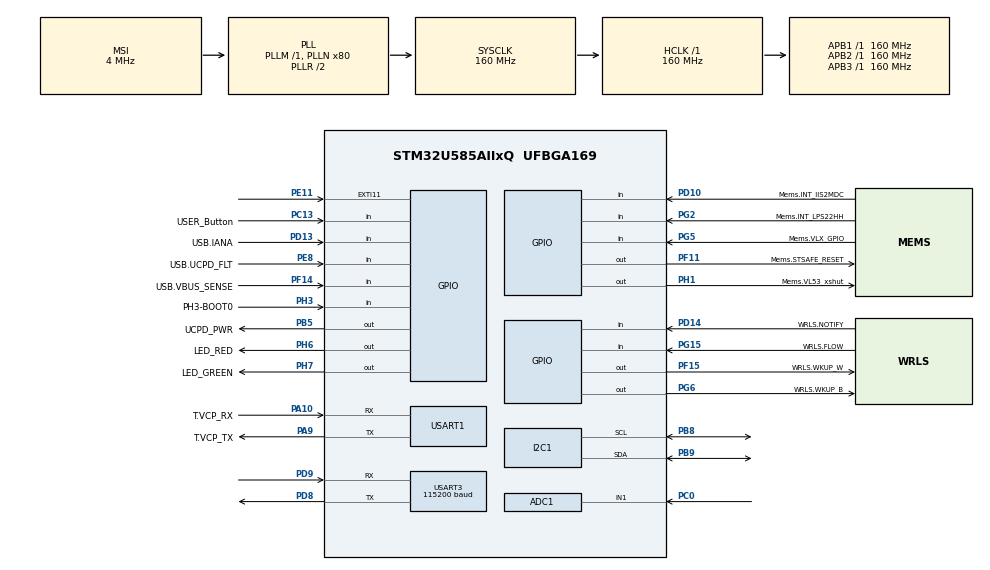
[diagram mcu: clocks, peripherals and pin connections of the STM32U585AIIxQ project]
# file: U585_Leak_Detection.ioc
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ADC1.NbrOfConversion=1
ADC1.master=1
CORTEX_M33_NS.userName=CORTEX_M33
I2C1.Timing=0x30909DEC
Mcu.Family=STM32U5
Mcu.Name=STM32U585AIIxQ
Mcu.Package=UFBGA169
NVIC.EXTI11_IRQn=true\:5\:0\:true\:false\:true\:true\:true\:true
NVIC.PriorityGroup=NVIC_PRIORITYGROUP_4
NVIC.RTC_IRQn=true\:0\:0\:false\:false\:true\:true\:true\:true
NVIC.USART3_IRQn=true\:0\:0\:false\:false\:true\:true\:true\:true
PA10.GPIO_Label=T.VCP_RX
PA10.Mode=Asynchronous
PA10.Signal=USART1_RX
PA9.GPIO_Label=T.VCP_TX
PA9.Mode=Asynchronous
PA9.Signal=USART1_TX
PB5.GPIO_Label=UCPD_PWR
PB5.Signal=GPIO_Output
PB8.Mode=I2C
PB8.Signal=I2C1_SCL
PB9.Mode=I2C
PB9.Signal=I2C1_SDA
PC0.Mode=IN1-Single-Ended
PC0.Signal=ADC1_IN1
PC13.GPIO_Label=USER_Button
PC13.Signal=GPIO_Input
PC14-OSC32_IN\ (PC14).Mode=LSE-External-Oscillator-for-RTC
PC14-OSC32_IN\ (PC14).Signal=RCC_OSC32_IN
PC15-OSC32_OUT\ (PC15).Mode=LSE-External-Oscillator-for-RTC
PC15-OSC32_OUT\ (PC15).Signal=RCC_OSC32_OUT
PD10.GPIO_Label=Mems.INT_IIS2MDC
PD10.Signal=GPIO_Input
PD13.GPIO_Label=USB.IANA
PD13.Signal=GPIO_Input
PD14.GPIO_Label=WRLS.NOTIFY
PD14.Signal=GPIO_Input
PD8.Mode=Asynchronous
PD8.Signal=USART3_TX
PD9.Mode=Asynchronous
PD9.Signal=USART3_RX
PE11.Signal=GPXTI11
PE8.GPIO_Label=USB.UCPD_FLT
PE8.Signal=GPIO_Input
PF11.GPIO_Label=Mems.STSAFE_RESET
PF11.Signal=GPIO_Output
PF14.GPIO_Label=USB.VBUS_SENSE
PF14.Signal=GPIO_Input
PF15.GPIO_Label=WRLS.WKUP_W
PF15.Signal=GPIO_Output
PG15.GPIO_Label=WRLS.FLOW
PG15.Signal=GPIO_Input
PG2.GPIO_Label=Mems.INT_LPS22HH
PG2.Signal=GPIO_Input
PG5.GPIO_Label=Mems.VLX_GPIO
PG5.Signal=GPIO_Input
PG6.GPIO_Label=WRLS.WKUP_B
PG6.Signal=GPIO_Output
PH1-OSC_OUT\ (PH1).GPIO_Label=Mems.VL53_xshut
PH1-OSC_OUT\ (PH1).Signal=GPIO_Output
PH3-BOOT0.GPIO_Label=PH3-BOOT0
PH3-BOOT0.Signal=GPIO_Input
PH6.GPIO_Label=LED_RED
PH6.Signal=GPIO_Output
PH7.GPIO_Label=LED_GREEN
PH7.Signal=GPIO_Output
PWR.PowerMode=PWR_SMPS_SUPPLY
ProjectManager.HeapSize=0x200
ProjectManager.StackSize=0x400
ProjectManager.TargetToolchain=STM32CubeIDE
RCC.ADCFreq_Value=16000000
RCC.AHBFreq_Value=160000000
RCC.APB1Freq_Value=160000000
RCC.APB1TimFreq_Value=160000000
RCC.APB2Freq_Value=160000000
RCC.APB2TimFreq_Value=160000000
RCC.APB3Freq_Value=160000000
RCC.CortexFreq_Value=160000000
RCC.DACCLockSelectionVirtual=RCC_DAC1CLKSOURCE_LSI
RCC.EPOD_VALUE=4000000
RCC.HCLKFreq_Value=160000000
RCC.HSE_VALUE=16000000
RCC.HSI48_VALUE=48000000
RCC.HSI_VALUE=16000000
RCC.LSIDIV_VALUE=32000
RCC.MSI_VALUE=4000000
RCC.PLLN=80
RCC.RTCClockSelection=RCC_RTCCLKSOURCE_LSE
RCC.SYSCLKFreq_VALUE=160000000
RCC.SYSCLKSource=RCC_SYSCLKSOURCE_PLLCLK
RCC.USBFreq_Value=48000000
RCC.VCOOutputFreq_Value=320000000
RTC.Date=7
RTC.Month=RTC_MONTH_FEBRUARY
RTC.WeekDay=RTC_WEEKDAY_SATURDAY
RTC.Year=26
USART1.VirtualMode-Asynchronous=VM_ASYNC
USART3.BaudRate=115200
USART3.VirtualMode-Asynchronous=VM_ASYNC
VP_ICACHE_VS_ICACHE.Mode=DirectMappedCache
VP_LPBAMQUEUE_VS_QUEUE.Mode=QUEUEMODE
VP_LPBAM_VS_SIG1.Mode=SmartRun
VP_LPBAM_VS_SIG4.Mode=LPDMA1
VP_MEMORYMAP_VS_MEMORYMAP.Mode=CurAppReg
VP_PWR_VS_LPOM.Mode=PowerOptimisation
VP_PWR_VS_SECSignals.Mode=Security/Privilege
VP_PWR_Vdda.Mode=isolationVdda
VP_RTC_VS_RTC_Activate.Mode=RTC_Enabled
VP_RTC_VS_RTC_Calendar.Mode=RTC_Calendar
VP_RTC_VS_RTC_WakeUp_intern.Mode=WakeUp
board=B-U585I-IOT02A

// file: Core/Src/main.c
/* USER CODE BEGIN Header */
/**
  ******************************************************************************
  * @file           : main.c
  * @brief          : Main program body
  ******************************************************************************
  * @attention
  *
  * Copyright (c) 2025 STMicroelectronics.
  * All rights reserved.
  *
  * This software is licensed under terms that can be found in the LICENSE file
  * in the root directory of this software component.
  * If no LICENSE file comes with this software, it is provided AS-IS.
  *
  ******************************************************************************
  */
/* USER CODE END Header */
#include "main.h"

/* USER CODE BEGIN Includes */
#include "power_mode.h"
#include "peripheral_Initialize.h"
#include "audio_processing.h"
#include "vibration_processing.h"
#include "audio_detection.h"
#include "vibration_detection.h"
#include "detection_logic.h"
#include "data_logger.h"
#include "lora.h"
/* USER CODE END Includes */

ADC_HandleTypeDef hadc1;

I2C_HandleTypeDef hi2c1;

RTC_HandleTypeDef hrtc;

UART_HandleTypeDef huart1;
UART_HandleTypeDef huart3;

/* USER CODE BEGIN PV */

/* Default sleep mode (can be changed at runtime if needed) */
static volatile app_sleep_mode_t g_sleep_mode = APP_SLEEP_MODE_STOP2;

int mic_record_duration = 3;
int acc_record_duration = 1;

static uint32_t logging_duration_ms = 10000U;				// Logging duration in milliseconds
static const uint32_t dataset_log_per_press       = 5U;     // how many logs per press
static const uint32_t dataset_inter_log_delay_ms  = 10000U;  // delay between logs (ms)

double verdict_conf = 0.0;

typedef enum {
    APP_MODE_DATASET = 0,
    APP_MODE_DETECTION = 1,
} app_mode_t;

static app_mode_t g_mode = APP_MODE_DETECTION;
static const uint32_t g_long_press_ms = 1200U;
static const uint32_t DETL_CHUNK_MS = 3000U;

/* USER CODE END PV */

void SystemClock_Config(void);
static void SystemPower_Config(void);
static void MX_GPIO_Init(void);
static void MX_ICACHE_Init(void);
static void MX_USART1_UART_Init(void);
static void MX_I2C1_Init(void);
static void MX_ADC1_Init(void);
static void MX_RTC_Init(void);
static void MX_USART3_UART_Init(void);

/* USER CODE BEGIN 0 */
uint32_t get_time_ms_of_day(void)
{
    RTC_TimeTypeDef t;
    RTC_DateTypeDef d;    // must read date after time (RTC requirement)

    HAL_RTC_GetTime(&hrtc, &t, RTC_FORMAT_BIN);
    HAL_RTC_GetDate(&hrtc, &d, RTC_FORMAT_BIN);

    uint32_t ms =
        ((uint32_t)t.Hours   * 3600U +
         (uint32_t)t.Minutes * 60U +
         (uint32_t)t.Seconds) * 1000U +
         (uint32_t)(t.SubSeconds * 1000U) / hrtc.Init.SynchPrediv;

    return ms;
}

const char *get_date_string(void)
{
    static char date_buf[16];  // persists after function return

    RTC_TimeTypeDef t;
    RTC_DateTypeDef d;

    HAL_RTC_GetTime(&hrtc, &t, RTC_FORMAT_BIN);
    HAL_RTC_GetDate(&hrtc, &d, RTC_FORMAT_BIN);

    // Format: DD/MM/YYYY
    snprintf(date_buf, sizeof(date_buf),
             "%02u/%02u/20%02u",
             d.Date, d.Month, d.Year);

    return date_buf;
}

const char *get_datetime_string_ms(void)
{
    static char dt_buf[32];

    RTC_TimeTypeDef t;
    RTC_DateTypeDef d;

    /* Read time first, then date (RTC requirement) */
    HAL_RTC_GetTime(&hrtc, &t, RTC_FORMAT_BIN);
    HAL_RTC_GetDate(&hrtc, &d, RTC_FORMAT_BIN);

    /* On STM32, SubSeconds counts down from SynchPrediv to 0 */
    uint32_t sub = t.SubSeconds;
    uint32_t prediv = (uint32_t)hrtc.Init.SynchPrediv;
    uint32_t ms = 0U;

    if (prediv > 0U) {
        /* Convert downcounter to elapsed ms within the current second */
        uint32_t ticks = (prediv - sub);
        ms = (ticks * 1000U) / (prediv + 1U);
    }
    ms %= 1000U;

    /* Format: DD/MM/YYYY HH:MM:SS.mmm */
    snprintf(dt_buf, sizeof(dt_buf),
             "%02u/%02u/20%02u %02u:%02u:%02u.%03u",
             d.Date, d.Month, d.Year,
             t.Hours, t.Minutes, t.Seconds,
             (unsigned)ms);

    return dt_buf;
}

/* USER CODE END 0 */

int main(void)
{

  /* MCU Configuration--------------------------------------------------------*/

  /* Reset of all peripherals, Initializes the Flash interface and the Systick. */
  HAL_Init();

  /* Configure the System Power */
  SystemPower_Config();

  /* Configure the system clock */
  SystemClock_Config();

  /* USER CODE BEGIN SysInit */
  /* Determine reset / low-power wake context (needed for SHUTDOWN) */
  app_boot_reason_init();

  /* USER CODE END SysInit */

  /* Initialize all configured peripherals */
  MX_GPIO_Init();
  MX_ICACHE_Init();
  MX_USART1_UART_Init();
  MX_I2C1_Init();
  MX_ADC1_Init();
  MX_RTC_Init();
  MX_USART3_UART_Init();
  /* USER CODE BEGIN 2 */
  printf("[BTN ] \r\n");
  printf("[BTN ] ======================================== RESET ========================================\r\n");
  printf("[BTN ] \r\n");
  printf("[BTN ] %s\r\n", get_datetime_string_ms());
  // peripheral_Init();
  /* On SHUTDOWN/STANDBY wake, skip peripheral testing and use lightweight wake init */
  if (g_boot_from_standby) {
	  periTest = 0;
      peripheral_Wake();
      app_cancel_rtc_wakeup(); /* stop periodic wakeups while we are awake */
      app_disable_wkup2_after_wake();
      g_woke_from_sleep = 1U;
    } else {
      peripheral_Init();
    }
  g_last_activity_ms = HAL_GetTick();
  audio_detection_init();
  vibration_detection_init();
  g_neai_num_windows = 30;
  /* USER CODE END 2 */

  /* Infinite loop */
  /* USER CODE BEGIN WHILE */
  while (1)
  {
	while(periTest){
		printf("[TEST] Start peripherals testing...\r\n");
		peripheral_Testing();
		periTest = 0;
		printf("[TEST] Peripherals testing completed.\r\n");
		printf("[MODE] Detection period: %u minutes \r\n",APP_PERIODIC_DET_SEC/60);
		printf("[MODE] Current mode: %s\r\n", (g_mode == APP_MODE_DATASET) ? "DATASET" : "DETECTION");
		lora_sendf("RESET: %s",get_datetime_string_ms());
		HAL_Delay(200);
		lora_sendf("MODE: %s", (g_mode == APP_MODE_DATASET) ? "DATASET" : "DETECTION");
		g_last_activity_ms = HAL_GetTick();
	}
	while(powerSave){
		printf("[TMR ] %s - Enter power saving mode.\r\n",get_datetime_string_ms());
		lora_sendf("SLEEP: %s",get_datetime_string_ms());
		power_mode_set_sleep_mode(g_sleep_mode);
		app_enter_power_save();
	}
	/* If we just woke from STOP, discard the wake button press (enter idle state) */
	if (g_woke_from_sleep) {
		HAL_Delay(200);
		lora_sendf("WAKE: %s",get_datetime_string_ms());
		HAL_Delay(200);
		lora_sendf("MODE: %s", (g_mode == APP_MODE_DATASET) ? "DATASET" : "DETECTION");
		printf("[TMR ] Current mode: %s\r\n", (g_mode == APP_MODE_DATASET) ? "DATASET" : "DETECTION");
	    /* If USER button was the wake source, discard that press (wake only) */
	    if (user_button_event) {
	        user_button_event = 0U;
	        g_last_activity_ms = HAL_GetTick();
	    }

	    /* Enter idle state visual immediately after wake */
	    if (g_mode == APP_MODE_DATASET) {
	        BSP_LED_Off(LED_GREEN);
	        BSP_LED_On(LED_RED);
	    }
	    else if (g_mode == APP_MODE_DETECTION) {
	        BSP_LED_On(LED_GREEN);
	        BSP_LED_Off(LED_RED);
	    }
	    else {
	        LED_Blink(1);
	    }

	    g_woke_from_sleep = 0U;
	}
    while (user_button_event) {
        // Clear the button flag so this loop only runs once per press
        user_button_event = 0;
        g_last_activity_ms = HAL_GetTick();

        // Long press toggles mode
		if (user_button_wait_long_press(g_long_press_ms)) {
			g_mode = (g_mode == APP_MODE_DATASET) ? APP_MODE_DETECTION : APP_MODE_DATASET;
			printf("[MODE] Switched to %s\r\n", (g_mode == APP_MODE_DATASET) ? "DATASET" : "DETECTION");
			lora_sendf("MODE: %s", (g_mode == APP_MODE_DATASET) ? "DATASET" : "DETECTION");

			// LED feedback: DATASET=1 blink, DETECTION=3 blinks
			LED_Blink(1);
			if (g_mode == APP_MODE_DETECTION) {
				LED_Blink(2);
			}
			g_last_activity_ms = HAL_GetTick();
			break;
		}

        if(g_mode == APP_MODE_DATASET){	// Dataset mode
            /* Initial delay: gives you time to remove your hand,
               and avoids capturing the vibration from the button press itself. */
            HAL_Delay(1000);
            lora_sendf("DATA: Start - %s",get_datetime_string_ms());
            BSP_LED_On(LED_GREEN);

			for (uint32_t n = 0U; n < dataset_log_per_press; n++) {

				printf("[BTN ] Logging %lu s now... (%lu/%lu)\r\n",
					   (unsigned long)logging_duration_ms / 1000U,
					   (unsigned long)(n + 1U),
					   (unsigned long)dataset_log_per_press);

				// Sequential logging
				int rc = logging_now(logging_duration_ms);

				// Simultaneous dataset logging (audio + vib) - currently not achieving 6.6 kHz for vibration
	            //int rc = logging_syn_dataset(logging_duration_ms);

				printf("[BTN ] Logging completed. Status = %d\r\n", rc);

				// Delay between recordings so the PC logger has time to finish writing before the next run.
				if ((dataset_log_per_press > 1U) && ((n + 1U) <= dataset_log_per_press)){
					printf("[BTN ] Intermediate delay started. Delay for %lu s\r\n", (unsigned long)dataset_inter_log_delay_ms/1000);
					HAL_Delay(dataset_inter_log_delay_ms);
					printf("[BTN ] Intermediate delay ended.\r\n");
				}
			}
			printf("[BTN ] All Logging completed. Total = %lu datasets.\r\n", (unsigned long)dataset_log_per_press);
			BSP_LED_Off(LED_GREEN);
			lora_sendf("DATA: End - %s",get_datetime_string_ms());
        }
        else { // Detection mode

            HAL_Delay(500);
            BSP_LED_On(LED_RED);
            printf("[BTN ] Running %lus (10 x 3s) late-fusion detection...\r\n",DETL_CHUNK_MS/1000);

            int dl_rc = detection_logic_run_30s_latefusion(DETL_CHUNK_MS);
            bool lr_pl = lora_send_detection_payload();
            printf("[LORA] Detection payload sent %s \r\n", lr_pl ? "successfully" : "failed");

            const char *verdict = dl_rc ? "leak" : "background";
            printf("[BTN ] 30s late-fusion detection result = %s (%.3f) \r\n", verdict, verdict_conf);

            BSP_LED_Off(LED_RED);

        }
        g_last_activity_ms = HAL_GetTick();

    }

    /* USER CODE END WHILE */

    /* USER CODE BEGIN 3 */

/*    //Periodic dataset collection trigger (RTC wake while sleeping)
    if (g_periodic_det_pending) {
		HAL_Delay(10000);
    	printf("[TMR ] Periodically (every %lu min) dataset collection start.\r\n", (unsigned long)APP_PERIODIC_DET_SEC/60);
        g_periodic_det_pending = 0U;

        lora_sendf("DATA: Start - %s",get_datetime_string_ms());
        BSP_LED_On(LED_GREEN);

		for (uint32_t n = 0U; n < dataset_log_per_press; n++) {

			printf("[BTN ] Logging %lu s now... (%lu/%lu)\r\n",
				   (unsigned long)logging_duration_ms / 1000U,
				   (unsigned long)(n + 1U),
				   (unsigned long)dataset_log_per_press);

			// Sequential logging
			int rc = logging_now(logging_duration_ms);

			// Simultaneous dataset logging (audio + vib) - currently not achieving 6.6 kHz for vibration
            //int rc = logging_syn_dataset(logging_duration_ms);

			printf("[BTN ] Logging completed. Status = %d\r\n", rc);

			// Delay between recordings so the PC logger has time to finish writing before the next run.
			if ((dataset_log_per_press > 1U) && ((n + 1U) <= dataset_log_per_press)){
				printf("[BTN ] Intermediate delay started. Delay for %lu s\r\n", (unsigned long)dataset_inter_log_delay_ms/1000);
				HAL_Delay(dataset_inter_log_delay_ms);
				printf("[BTN ] Intermediate delay ended.\r\n");
			}
		}
		printf("[BTN ] All Logging completed. Total = %lu datasets.\r\n", (unsigned long)dataset_log_per_press);
		BSP_LED_Off(LED_GREEN);
		lora_sendf("DATA: End - %s",get_datetime_string_ms());

        // Periodic (RTC) detection: sleep immediately after detection + LoRa
        powerSave = 1U;
        continue;  // jump to while(powerSave) and enter low power now
    }*/

    if (g_periodic_det_pending) {
    	HAL_Delay(10000);
    	printf("[TMR ] Periodically (every %lu) detection start.\r\n", (unsigned long)APP_PERIODIC_DET_SEC);
        g_periodic_det_pending = 0U;

        BSP_LED_On(LED_RED);
        BSP_LED_On(LED_GREEN);

        printf("[TMR ] Running %lus (10 x 3s) late-fusion detection...\r\n", DETL_CHUNK_MS/1000);

        int dl_rc = detection_logic_run_30s_latefusion(DETL_CHUNK_MS);
        bool lr_pl = lora_send_detection_payload();
        printf("[LORA] Detection payload sent %s \r\n", lr_pl ? "successfully" : "failed");

        const char *verdict = dl_rc ? "leak" : "background";
        printf("[TMR ] 30s late-fusion detection result = %s (%.3f) \r\n", verdict, verdict_conf);

        BSP_LED_Off(LED_RED);
        BSP_LED_Off(LED_GREEN);

        // Periodic (RTC) detection: sleep immediately after detection + LoRa
        powerSave = 1U;
        continue;  // Jump to while(powerSave) and enter low power now
    }

    // Idle timeout: return to power saving mode after APP_IDLE_TIMEOUT_MS
    if ((HAL_GetTick() - g_last_activity_ms) >= APP_IDLE_TIMEOUT_MS) {
        powerSave = 1;
    }

	if(g_mode == APP_MODE_DATASET){
		BSP_LED_Off(LED_GREEN);
		BSP_LED_On(LED_RED);
	}
	else if(g_mode == APP_MODE_DETECTION){
		BSP_LED_On(LED_GREEN);
		BSP_LED_Off(LED_RED);
	}
	else{
		LED_Blink(1);
	}
  }
  /* USER CODE END 3 */
}

void SystemClock_Config(void)
{
  RCC_OscInitTypeDef RCC_OscInitStruct = {0};
  RCC_ClkInitTypeDef RCC_ClkInitStruct = {0};

  /** Configure the main internal regulator output voltage
  */
  if (HAL_PWREx_ControlVoltageScaling(PWR_REGULATOR_VOLTAGE_SCALE1) != HAL_OK)
  {
    Error_Handler();
  }

  /** Configure LSE Drive Capability
  */
  HAL_PWR_EnableBkUpAccess();
  __HAL_RCC_LSEDRIVE_CONFIG(RCC_LSEDRIVE_LOW);

  /** Initializes the CPU, AHB and APB buses clocks
  */
  RCC_OscInitStruct.OscillatorType = RCC_OSCILLATORTYPE_HSI|RCC_OSCILLATORTYPE_LSE
                              |RCC_OSCILLATORTYPE_MSI;
  RCC_OscInitStruct.LSEState = RCC_LSE_ON_RTC_ONLY;
  RCC_OscInitStruct.HSIState = RCC_HSI_ON;
  RCC_OscInitStruct.HSICalibrationValue = RCC_HSICALIBRATION_DEFAULT;
  RCC_OscInitStruct.MSIState = RCC_MSI_ON;
  RCC_OscInitStruct.MSICalibrationValue = RCC_MSICALIBRATION_DEFAULT;
  RCC_OscInitStruct.MSIClockRange = RCC_MSIRANGE_4;
  RCC_OscInitStruct.PLL.PLLState = RCC_PLL_ON;
  RCC_OscInitStruct.PLL.PLLSource = RCC_PLLSOURCE_MSI;
  RCC_OscInitStruct.PLL.PLLMBOOST = RCC_PLLMBOOST_DIV1;
  RCC_OscInitStruct.PLL.PLLM = 1;
  RCC_OscInitStruct.PLL.PLLN = 80;
  RCC_OscInitStruct.PLL.PLLP = 2;
  RCC_OscInitStruct.PLL.PLLQ = 2;
  RCC_OscInitStruct.PLL.PLLR = 2;
  RCC_OscInitStruct.PLL.PLLRGE = RCC_PLLVCIRANGE_0;
  RCC_OscInitStruct.PLL.PLLFRACN = 0;
  if (HAL_RCC_OscConfig(&RCC_OscInitStruct) != HAL_OK)
  {
    Error_Handler();
  }

  /** Initializes the CPU, AHB and APB buses clocks
  */
  RCC_ClkInitStruct.ClockType = RCC_CLOCKTYPE_HCLK|RCC_CLOCKTYPE_SYSCLK
                              |RCC_CLOCKTYPE_PCLK1|RCC_CLOCKTYPE_PCLK2
                              |RCC_CLOCKTYPE_PCLK3;
  RCC_ClkInitStruct.SYSCLKSource = RCC_SYSCLKSOURCE_PLLCLK;
  RCC_ClkInitStruct.AHBCLKDivider = RCC_SYSCLK_DIV1;
  RCC_ClkInitStruct.APB1CLKDivider = RCC_HCLK_DIV1;
  RCC_ClkInitStruct.APB2CLKDivider = RCC_HCLK_DIV1;
  RCC_ClkInitStruct.APB3CLKDivider = RCC_HCLK_DIV1;

  if (HAL_RCC_ClockConfig(&RCC_ClkInitStruct, FLASH_LATENCY_4) != HAL_OK)
  {
    Error_Handler();
  }
}

/**
  * @brief Power Configuration
  * @retval None
  */
static void SystemPower_Config(void)
{
  HAL_PWREx_EnableVddIO2();

  /*
   * Switch to SMPS regulator instead of LDO
   */
  if (HAL_PWREx_ConfigSupply(PWR_SMPS_SUPPLY) != HAL_OK)
  {
    Error_Handler();
  }
}

static void MX_ADC1_Init(void)
{

  /** Common config
  */
  hadc1.Instance = ADC1;
  hadc1.Init.ClockPrescaler = ADC_CLOCK_ASYNC_DIV1;
  hadc1.Init.Resolution = ADC_RESOLUTION_14B;
  hadc1.Init.GainCompensation = 0;
  hadc1.Init.ScanConvMode = ADC_SCAN_DISABLE;
  hadc1.Init.EOCSelection = ADC_EOC_SINGLE_CONV;
  hadc1.Init.LowPowerAutoWait = DISABLE;
  hadc1.Init.ContinuousConvMode = DISABLE;
  hadc1.Init.NbrOfConversion = 1;
  hadc1.Init.DiscontinuousConvMode = DISABLE;
  hadc1.Init.DMAContinuousRequests = DISABLE;
  hadc1.Init.TriggerFrequencyMode = ADC_TRIGGER_FREQ_HIGH;
  hadc1.Init.Overrun = ADC_OVR_DATA_PRESERVED;
  hadc1.Init.LeftBitShift = ADC_LEFTBITSHIFT_NONE;
  hadc1.Init.ConversionDataManagement = ADC_CONVERSIONDATA_DR;
  hadc1.Init.OversamplingMode = DISABLE;
  if (HAL_ADC_Init(&hadc1) != HAL_OK)
  {
    Error_Handler();
  }

}

static void MX_I2C1_Init(void)
{

  hi2c1.Instance = I2C1;
  hi2c1.Init.Timing = 0x30909DEC;
  hi2c1.Init.OwnAddress1 = 0;
  hi2c1.Init.AddressingMode = I2C_ADDRESSINGMODE_7BIT;
  hi2c1.Init.DualAddressMode = I2C_DUALADDRESS_DISABLE;
  hi2c1.Init.OwnAddress2 = 0;
  hi2c1.Init.OwnAddress2Masks = I2C_OA2_NOMASK;
  hi2c1.Init.GeneralCallMode = I2C_GENERALCALL_DISABLE;
  hi2c1.Init.NoStretchMode = I2C_NOSTRETCH_DISABLE;
  if (HAL_I2C_Init(&hi2c1) != HAL_OK)
  {
    Error_Handler();
  }

  /** Configure Analogue filter
  */
  if (HAL_I2CEx_ConfigAnalogFilter(&hi2c1, I2C_ANALOGFILTER_ENABLE) != HAL_OK)
  {
    Error_Handler();
  }

  /** Configure Digital filter
  */
  if (HAL_I2CEx_ConfigDigitalFilter(&hi2c1, 0) != HAL_OK)
  {
    Error_Handler();
  }

}

static void MX_ICACHE_Init(void)
{

  /** Enable instruction cache in 1-way (direct mapped cache)
  */
  if (HAL_ICACHE_ConfigAssociativityMode(ICACHE_1WAY) != HAL_OK)
  {
    Error_Handler();
  }
  if (HAL_ICACHE_Enable() != HAL_OK)
  {
    Error_Handler();
  }

}

static void MX_RTC_Init(void)
{

  RTC_PrivilegeStateTypeDef privilegeState = {0};
  RTC_TimeTypeDef sTime = {0};
  RTC_DateTypeDef sDate = {0};

  /** Initialize RTC Only
  */
  hrtc.Instance = RTC;
  hrtc.Init.HourFormat = RTC_HOURFORMAT_24;
  hrtc.Init.AsynchPrediv = 127;
  hrtc.Init.SynchPrediv = 255;
  hrtc.Init.OutPut = RTC_OUTPUT_DISABLE;
  hrtc.Init.OutPutRemap = RTC_OUTPUT_REMAP_NONE;
  hrtc.Init.OutPutPolarity = RTC_OUTPUT_POLARITY_HIGH;
  hrtc.Init.OutPutType = RTC_OUTPUT_TYPE_OPENDRAIN;
  hrtc.Init.OutPutPullUp = RTC_OUTPUT_PULLUP_NONE;
  hrtc.Init.BinMode = RTC_BINARY_NONE;
  if (HAL_RTC_Init(&hrtc) != HAL_OK)
  {
    Error_Handler();
  }
  privilegeState.rtcPrivilegeFull = RTC_PRIVILEGE_FULL_NO;
  privilegeState.backupRegisterPrivZone = RTC_PRIVILEGE_BKUP_ZONE_NONE;
  privilegeState.backupRegisterStartZone2 = RTC_BKP_DR0;
  privilegeState.backupRegisterStartZone3 = RTC_BKP_DR0;
  if (HAL_RTCEx_PrivilegeModeSet(&hrtc, &privilegeState) != HAL_OK)
  {
    Error_Handler();
  }

  /* USER CODE BEGIN Check_RTC_BKUP */
  HAL_PWR_EnableBkUpAccess();
  /* USER CODE END Check_RTC_BKUP */

  /** Initialize RTC and set the Time and Date
  */
  sTime.Hours = 0x0;
  sTime.Minutes = 0x0;
  sTime.Seconds = 0x0;
  sTime.DayLightSaving = RTC_DAYLIGHTSAVING_NONE;
  sTime.StoreOperation = RTC_STOREOPERATION_RESET;
  if (HAL_RTC_SetTime(&hrtc, &sTime, RTC_FORMAT_BCD) != HAL_OK)
  {
    Error_Handler();
  }
  sDate.WeekDay = RTC_WEEKDAY_SATURDAY;
  sDate.Month = RTC_MONTH_FEBRUARY;
  sDate.Date = 0x7;
  sDate.Year = 0x26;

  if (HAL_RTC_SetDate(&hrtc, &sDate, RTC_FORMAT_BCD) != HAL_OK)
  {
    Error_Handler();
  }

  /** Enable the WakeUp
  */
  if (HAL_RTCEx_SetWakeUpTimer_IT(&hrtc, 0, RTC_WAKEUPCLOCK_RTCCLK_DIV16, 0) != HAL_OK)
  {
    Error_Handler();
  }

}

static void MX_USART1_UART_Init(void)
{

  huart1.Instance = USART1;
  huart1.Init.BaudRate = 921600;
  huart1.Init.WordLength = UART_WORDLENGTH_8B;
  huart1.Init.StopBits = UART_STOPBITS_1;
  huart1.Init.Parity = UART_PARITY_NONE;
  huart1.Init.Mode = UART_MODE_TX_RX;
  huart1.Init.HwFlowCtl = UART_HWCONTROL_NONE;
  huart1.Init.OverSampling = UART_OVERSAMPLING_16;
  huart1.Init.OneBitSampling = UART_ONE_BIT_SAMPLE_DISABLE;
  huart1.Init.ClockPrescaler = UART_PRESCALER_DIV1;
  huart1.AdvancedInit.AdvFeatureInit = UART_ADVFEATURE_NO_INIT;
  if (HAL_UART_Init(&huart1) != HAL_OK)
  {
    Error_Handler();
  }
  if (HAL_UARTEx_SetTxFifoThreshold(&huart1, UART_TXFIFO_THRESHOLD_1_8) != HAL_OK)
  {
    Error_Handler();
  }
  if (HAL_UARTEx_SetRxFifoThreshold(&huart1, UART_RXFIFO_THRESHOLD_1_8) != HAL_OK)
  {
    Error_Handler();
  }
  if (HAL_UARTEx_DisableFifoMode(&huart1) != HAL_OK)
  {
    Error_Handler();
  }

}

static void MX_USART3_UART_Init(void)
{

  huart3.Instance = USART3;
  huart3.Init.BaudRate = 115200;
  huart3.Init.WordLength = UART_WORDLENGTH_8B;
  huart3.Init.StopBits = UART_STOPBITS_1;
  huart3.Init.Parity = UART_PARITY_NONE;
  huart3.Init.Mode = UART_MODE_TX_RX;
  huart3.Init.HwFlowCtl = UART_HWCONTROL_NONE;
  huart3.Init.OverSampling = UART_OVERSAMPLING_16;
  huart3.Init.OneBitSampling = UART_ONE_BIT_SAMPLE_DISABLE;
  huart3.Init.ClockPrescaler = UART_PRESCALER_DIV1;
  huart3.AdvancedInit.AdvFeatureInit = UART_ADVFEATURE_NO_INIT;
  if (HAL_UART_Init(&huart3) != HAL_OK)
  {
    Error_Handler();
  }
  if (HAL_UARTEx_SetTxFifoThreshold(&huart3, UART_TXFIFO_THRESHOLD_1_8) != HAL_OK)
  {
    Error_Handler();
  }
  if (HAL_UARTEx_SetRxFifoThreshold(&huart3, UART_RXFIFO_THRESHOLD_1_8) != HAL_OK)
  {
    Error_Handler();
  }
  if (HAL_UARTEx_DisableFifoMode(&huart3) != HAL_OK)
  {
    Error_Handler();
  }

}

static void MX_GPIO_Init(void)
{
  GPIO_InitTypeDef GPIO_InitStruct = {0};

  /* GPIO Ports Clock Enable */
  __HAL_RCC_GPIOE_CLK_ENABLE();
  __HAL_RCC_GPIOI_CLK_ENABLE();
  __HAL_RCC_GPIOG_CLK_ENABLE();
  __HAL_RCC_GPIOC_CLK_ENABLE();
  __HAL_RCC_GPIOA_CLK_ENABLE();
  __HAL_RCC_GPIOH_CLK_ENABLE();
  __HAL_RCC_GPIOB_CLK_ENABLE();
  __HAL_RCC_GPIOD_CLK_ENABLE();
  __HAL_RCC_GPIOF_CLK_ENABLE();

  /*Configure GPIO pin Output Level */
  HAL_GPIO_WritePin(UCPD_PWR_GPIO_Port, UCPD_PWR_Pin, GPIO_PIN_RESET);

  /*Configure GPIO pin Output Level */
  HAL_GPIO_WritePin(GPIOH, LED_RED_Pin|LED_GREEN_Pin|Mems_VL53_xshut_Pin, GPIO_PIN_RESET);

  /*Configure GPIO pin Output Level */
  HAL_GPIO_WritePin(WRLS_WKUP_B_GPIO_Port, WRLS_WKUP_B_Pin, GPIO_PIN_RESET);

  /*Configure GPIO pin Output Level */
  HAL_GPIO_WritePin(GPIOF, Mems_STSAFE_RESET_Pin|WRLS_WKUP_W_Pin, GPIO_PIN_RESET);

  /*Configure GPIO pins : PE2 PE4 PE1 PE5
                           PE3 PE0 PE6 PE10
                           PE9 PE14 PE7 PE13
                           PE15 PE12 */
  GPIO_InitStruct.Pin = GPIO_PIN_2|GPIO_PIN_4|GPIO_PIN_1|GPIO_PIN_5
                          |GPIO_PIN_3|GPIO_PIN_0|GPIO_PIN_6|GPIO_PIN_10
                          |GPIO_PIN_9|GPIO_PIN_14|GPIO_PIN_7|GPIO_PIN_13
                          |GPIO_PIN_15|GPIO_PIN_12;
  GPIO_InitStruct.Mode = GPIO_MODE_ANALOG;
  GPIO_InitStruct.Pull = GPIO_NOPULL;
  HAL_GPIO_Init(GPIOE, &GPIO_InitStruct);

  /*Configure GPIO pins : PI6 PI1 PI5 PI4
                           PI0 PI7 PI3 PI2 */
  GPIO_InitStruct.Pin = GPIO_PIN_6|GPIO_PIN_1|GPIO_PIN_5|GPIO_PIN_4
                          |GPIO_PIN_0|GPIO_PIN_7|GPIO_PIN_3|GPIO_PIN_2;
  GPIO_InitStruct.Mode = GPIO_MODE_ANALOG;
  GPIO_InitStruct.Pull = GPIO_NOPULL;
  HAL_GPIO_Init(GPIOI, &GPIO_InitStruct);

  /*Configure GPIO pins : WRLS_FLOW_Pin Mems_VLX_GPIO_Pin Mems_INT_LPS22HH_Pin */
  GPIO_InitStruct.Pin = WRLS_FLOW_Pin|Mems_VLX_GPIO_Pin|Mems_INT_LPS22HH_Pin;
  GPIO_InitStruct.Mode = GPIO_MODE_INPUT;
  GPIO_InitStruct.Pull = GPIO_NOPULL;
  HAL_GPIO_Init(GPIOG, &GPIO_InitStruct);

  /*Configure GPIO pins : PG9 PG10 PG12 PG7
                           PG1 PG8 PG4 PG0
                           PG3 */
  GPIO_InitStruct.Pin = GPIO_PIN_9|GPIO_PIN_10|GPIO_PIN_12|GPIO_PIN_7
                          |GPIO_PIN_1|GPIO_PIN_8|GPIO_PIN_4|GPIO_PIN_0
                          |GPIO_PIN_3;
  GPIO_InitStruct.Mode = GPIO_MODE_ANALOG;
  GPIO_InitStruct.Pull = GPIO_NOPULL;
  HAL_GPIO_Init(GPIOG, &GPIO_InitStruct);

  /*Configure GPIO pins : PC11 PC10 PC12 PC9
                           PC8 PC7 PC6 PC1
                           PC2 PC3 PC4 PC5 */
  GPIO_InitStruct.Pin = GPIO_PIN_11|GPIO_PIN_10|GPIO_PIN_12|GPIO_PIN_9
                          |GPIO_PIN_8|GPIO_PIN_7|GPIO_PIN_6|GPIO_PIN_1
                          |GPIO_PIN_2|GPIO_PIN_3|GPIO_PIN_4|GPIO_PIN_5;
  GPIO_InitStruct.Mode = GPIO_MODE_ANALOG;
  GPIO_InitStruct.Pull = GPIO_NOPULL;
  HAL_GPIO_Init(GPIOC, &GPIO_InitStruct);

  /*Configure GPIO pins : PA15 PA14 PA13 PA12
                           PA8 PA11 PA7 PA0
                           PA5 PA1 PA2 PA4
                           PA3 PA6 */
  GPIO_InitStruct.Pin = GPIO_PIN_15|GPIO_PIN_14|GPIO_PIN_13|GPIO_PIN_12
                          |GPIO_PIN_8|GPIO_PIN_11|GPIO_PIN_7|GPIO_PIN_0
                          |GPIO_PIN_5|GPIO_PIN_1|GPIO_PIN_2|GPIO_PIN_4
                          |GPIO_PIN_3|GPIO_PIN_6;
  GPIO_InitStruct.Mode = GPIO_MODE_ANALOG;
  GPIO_InitStruct.Pull = GPIO_NOPULL;
  HAL_GPIO_Init(GPIOA, &GPIO_InitStruct);

  /*Configure GPIO pins : PH15 PH12 PH14 PH13
                           PH10 PH11 PH8 PH9
                           PH4 PH5 PH2 PH0 */
  GPIO_InitStruct.Pin = GPIO_PIN_15|GPIO_PIN_12|GPIO_PIN_14|GPIO_PIN_13
                          |GPIO_PIN_10|GPIO_PIN_11|GPIO_PIN_8|GPIO_PIN_9
                          |GPIO_PIN_4|GPIO_PIN_5|GPIO_PIN_2|GPIO_PIN_0;
  GPIO_InitStruct.Mode = GPIO_MODE_ANALOG;
  GPIO_InitStruct.Pull = GPIO_NOPULL;
  HAL_GPIO_Init(GPIOH, &GPIO_InitStruct);

  /*Configure GPIO pins : PB6 PB4 PB3 PB7
                           PB0 PB10 PB2 PB11
                           PB12 PB15 PB14 PB1
                           PB13 */
  GPIO_InitStruct.Pin = GPIO_PIN_6|GPIO_PIN_4|GPIO_PIN_3|GPIO_PIN_7
                          |GPIO_PIN_0|GPIO_PIN_10|GPIO_PIN_2|GPIO_PIN_11
                          |GPIO_PIN_12|GPIO_PIN_15|GPIO_PIN_14|GPIO_PIN_1
                          |GPIO_PIN_13;
  GPIO_InitStruct.Mode = GPIO_MODE_ANALOG;
  GPIO_InitStruct.Pull = GPIO_NOPULL;
  HAL_GPIO_Init(GPIOB, &GPIO_InitStruct);

  /*Configure GPIO pins : PD6 PD0 PD4 PD7
                           PD3 PD5 PD1 PD2
                           PD15 PD12 PD11 */
  GPIO_InitStruct.Pin = GPIO_PIN_6|GPIO_PIN_0|GPIO_PIN_4|GPIO_PIN_7
                          |GPIO_PIN_3|GPIO_PIN_5|GPIO_PIN_1|GPIO_PIN_2
                          |GPIO_PIN_15|GPIO_PIN_12|GPIO_PIN_11;
  GPIO_InitStruct.Mode = GPIO_MODE_ANALOG;
  GPIO_InitStruct.Pull = GPIO_NOPULL;
  HAL_GPIO_Init(GPIOD, &GPIO_InitStruct);

  /*Configure GPIO pin : PH3_BOOT0_Pin */
  GPIO_InitStruct.Pin = PH3_BOOT0_Pin;
  GPIO_InitStruct.Mode = GPIO_MODE_INPUT;
  GPIO_InitStruct.Pull = GPIO_NOPULL;
  HAL_GPIO_Init(PH3_BOOT0_GPIO_Port, &GPIO_InitStruct);

  /*Configure GPIO pin : UCPD_PWR_Pin */
  GPIO_InitStruct.Pin = UCPD_PWR_Pin;
  GPIO_InitStruct.Mode = GPIO_MODE_OUTPUT_PP;
  GPIO_InitStruct.Pull = GPIO_NOPULL;
  GPIO_InitStruct.Speed = GPIO_SPEED_FREQ_LOW;
  HAL_GPIO_Init(UCPD_PWR_GPIO_Port, &GPIO_InitStruct);

  /*Configure GPIO pins : PF0 PF8 PF1 PF2
                           PF7 PF9 PF5 PF3
                           PF4 PF10 PF6 PF12
                           PF13 */
  GPIO_InitStruct.Pin = GPIO_PIN_0|GPIO_PIN_8|GPIO_PIN_1|GPIO_PIN_2
                          |GPIO_PIN_7|GPIO_PIN_9|GPIO_PIN_5|GPIO_PIN_3
                          |GPIO_PIN_4|GPIO_PIN_10|GPIO_PIN_6|GPIO_PIN_12
                          |GPIO_PIN_13;
  GPIO_InitStruct.Mode = GPIO_MODE_ANALOG;
  GPIO_InitStruct.Pull = GPIO_NOPULL;
  HAL_GPIO_Init(GPIOF, &GPIO_InitStruct);

  /*Configure GPIO pin : USER_Button_Pin */
  GPIO_InitStruct.Pin = USER_Button_Pin;
  GPIO_InitStruct.Mode = GPIO_MODE_INPUT;
  GPIO_InitStruct.Pull = GPIO_NOPULL;
  HAL_GPIO_Init(USER_Button_GPIO_Port, &GPIO_InitStruct);

  /*Configure GPIO pins : LED_RED_Pin LED_GREEN_Pin Mems_VL53_xshut_Pin */
  GPIO_InitStruct.Pin = LED_RED_Pin|LED_GREEN_Pin|Mems_VL53_xshut_Pin;
  GPIO_InitStruct.Mode = GPIO_MODE_OUTPUT_PP;
  GPIO_InitStruct.Pull = GPIO_NOPULL;
  GPIO_InitStruct.Speed = GPIO_SPEED_FREQ_LOW;
  HAL_GPIO_Init(GPIOH, &GPIO_InitStruct);

  /*Configure GPIO pin : WRLS_WKUP_B_Pin */
  GPIO_InitStruct.Pin = WRLS_WKUP_B_Pin;
  GPIO_InitStruct.Mode = GPIO_MODE_OUTPUT_PP;
  GPIO_InitStruct.Pull = GPIO_NOPULL;
  GPIO_InitStruct.Speed = GPIO_SPEED_FREQ_LOW;
  HAL_GPIO_Init(WRLS_WKUP_B_GPIO_Port, &GPIO_InitStruct);

  /*Configure GPIO pins : WRLS_NOTIFY_Pin Mems_INT_IIS2MDC_Pin USB_IANA_Pin */
  GPIO_InitStruct.Pin = WRLS_NOTIFY_Pin|Mems_INT_IIS2MDC_Pin|USB_IANA_Pin;
  GPIO_InitStruct.Mode = GPIO_MODE_INPUT;
  GPIO_InitStruct.Pull = GPIO_NOPULL;
  HAL_GPIO_Init(GPIOD, &GPIO_InitStruct);

  /*Configure GPIO pin : USB_UCPD_FLT_Pin */
  GPIO_InitStruct.Pin = USB_UCPD_FLT_Pin;
  GPIO_InitStruct.Mode = GPIO_MODE_INPUT;
  GPIO_InitStruct.Pull = GPIO_NOPULL;
  HAL_GPIO_Init(USB_UCPD_FLT_GPIO_Port, &GPIO_InitStruct);

  /*Configure GPIO pin : USB_VBUS_SENSE_Pin */
  GPIO_InitStruct.Pin = USB_VBUS_SENSE_Pin;
  GPIO_InitStruct.Mode = GPIO_MODE_INPUT;
  GPIO_InitStruct.Pull = GPIO_NOPULL;
  HAL_GPIO_Init(USB_VBUS_SENSE_GPIO_Port, &GPIO_InitStruct);

  /*Configure GPIO pins : Mems_STSAFE_RESET_Pin WRLS_WKUP_W_Pin */
  GPIO_InitStruct.Pin = Mems_STSAFE_RESET_Pin|WRLS_WKUP_W_Pin;
  GPIO_InitStruct.Mode = GPIO_MODE_OUTPUT_PP;
  GPIO_InitStruct.Pull = GPIO_NOPULL;
  GPIO_InitStruct.Speed = GPIO_SPEED_FREQ_LOW;
  HAL_GPIO_Init(GPIOF, &GPIO_InitStruct);

  /*Configure GPIO pin : PE11 */
  GPIO_InitStruct.Pin = GPIO_PIN_11;
  GPIO_InitStruct.Mode = GPIO_MODE_IT_RISING;
  GPIO_InitStruct.Pull = GPIO_NOPULL;
  HAL_GPIO_Init(GPIOE, &GPIO_InitStruct);

  /* EXTI interrupt init*/
  HAL_NVIC_SetPriority(EXTI11_IRQn, 5, 0);
  HAL_NVIC_EnableIRQ(EXTI11_IRQn);

}

/* USER CODE BEGIN 4 */
int __io_putchar(int ch) {
  HAL_UART_Transmit(&huart1, (uint8_t*)&ch, 1, HAL_MAX_DELAY);
  return ch;
}
/* USER CODE END 4 */

void Error_Handler(void)
{
  __disable_irq();
  while (1)
  {
  }
}
